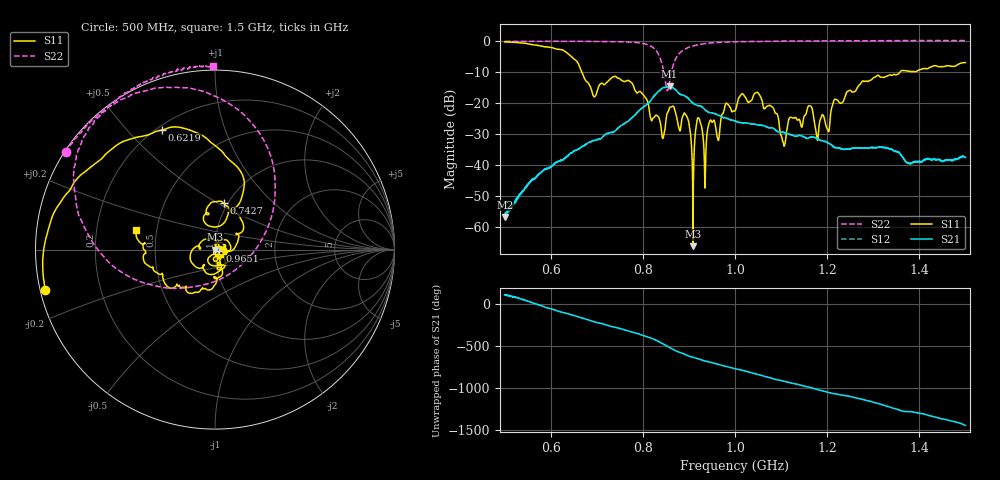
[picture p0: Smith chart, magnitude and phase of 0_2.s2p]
!Keysight Technologies,N5242B,MY48420860,A.13.80.08
!Date: Saturday, September 26, 2020 11:17:24
!Correction: S11(Full 2 Port(1,2))
!S21(Full 2 Port(1,2))
!S12(Full 2 Port(1,2))
!S22(Full 2 Port(1,2))
!S2P File: Measurements: S11, S21, S12, S22:
# Hz S  dB  R 50
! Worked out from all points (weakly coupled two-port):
!   2650 points, 500 MHz to 1.5 GHz, reference 50 ohm
!   highest |S21| = -14.59 dB at 857.9 MHz (marker M1); lowest = -56.8 dB at 500.4 MHz (marker M2)
!   lowest |S11| = -66.2 dB at 908.8 MHz (marker M3), VSWR 1.00, Z = 50 + j0.0405 ohm
!   |S11| at or under -10 dB: 667.6 MHz to 1.358 GHz (690.4 MHz wide, 68.2 % of centre)
!   |S22| runs from -16.0 to 0.2 dB; largest |S21 - S12| = 0.00039
!   S11 on the Smith chart (normalised r, x): 500 MHz: 0.01, -0.12; 621.9 MHz: 0.22, +0.63; 742.7 MHz: 0.96, +0.53; 965.1 MHz: 1.05, -0.02; 1.5 GHz: 0.38, +0.10
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5e8  -0.24 -166.5  -56.39 110.5  -56.86 107.5  -0.08 146.8
5.003775e8  -0.24 -166.7  -56.79 110.5  -56.30 107.8  -0.07 146.8
6.219328e8  -2.75 113.9  -38.39 -94.7  -38.60 -94.5  -0.07 136.8
6.668554e8  -9.74 62.9  -34.15 -165.0  -34.18 -165.0  -0.06 132.1
6.947905e8  -18.01 91.1  -32.07 147.0  -32.08 146.7  -0.06 128.5
7.427331e8  -11.60 79.2  -28.58 79.0  -28.59 79.2  -0.16 120.8
8.337108e8  -24.37 14.9  -16.23 -86.1  -16.24 -86.1  -4.14 60.8
8.578709e8  -21.57 39.5  -14.59 -157.6  -14.60 -157.6  -13.29 -112.3
8.94866e8  -24.14 -36.5  -17.96 111.5  -17.96 111.4  -2.25 166.9
9.088335e8  -66.20 124.3  -20.04 84.6  -20.05 84.5  -1.55 158.6
9.201586e8  -24.72 -18.2  -20.87 68.0  -20.89 68.0  -1.16 154.0
9.341261e8  -42.67 -143.2  -22.08 41.9  -22.09 41.8  -0.82 149.1
9.462061e8  -25.50 -14.8  -23.07 27.3  -23.11 27.3  -0.58 145.7
9.650812e8  -31.49 -20.4  -23.96 -1.4  -23.97 -1.3  -0.40 141.0
1.000189e9  -22.43 -72.3  -25.79 -50.6  -25.77 -50.6  -0.22 134.9
1.049641e9  -16.66 -160.5  -27.06 -119.4  -27.09 -119.2  -0.13 128.3
1.105512e9  -33.36 76.6  -29.44 160.8  -29.45 161.0  -0.02 123.0
1.166667e9  -21.48 -113.2  -30.95 81.2  -31.00 81.0  0.06 117.8
1.201019e9  -28.52 -81.0  -32.76 28.8  -32.75 28.6  0.09 114.9
1.217252e9  -18.73 -70.5  -34.42 10.5  -34.39 11.1  0.11 113.7
1.333522e9  -11.05 -131.1  -34.60 -144.1  -34.66 -144.4  0.17 104.4
1.5e9  -6.89 166.3  -37.56 -6.4  -37.62 -6.6  0.18 90.5
